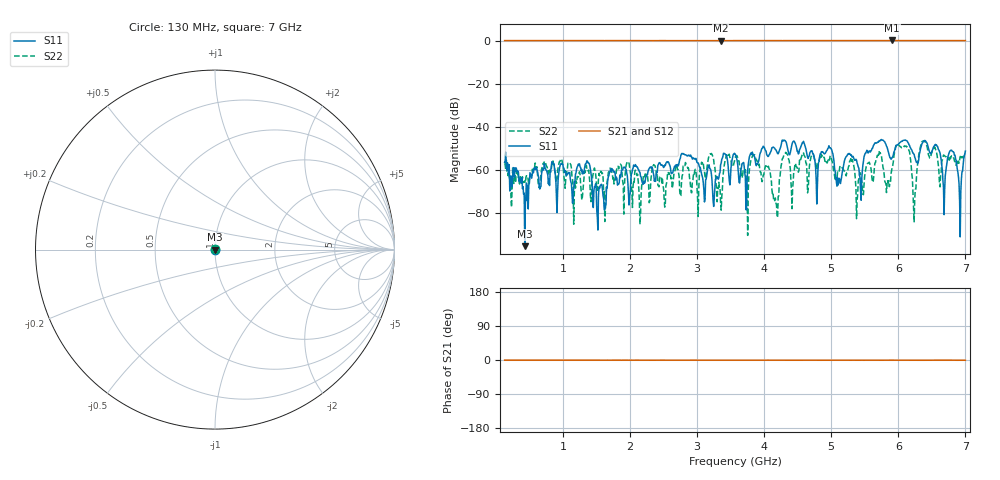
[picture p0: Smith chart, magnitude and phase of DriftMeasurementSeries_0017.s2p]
# Hz S RI R 50.000000
! Metas.Vna.Tools, 2.8.8664.20301
! Metas.Vna.Data, 2.8.8664.20285
! Created: UTC 2024.02.11 10:08:11
! FREQ  re:S1,1  im:S1,1  re:S2,1  im:S2,1  re:S1,2  im:S1,2  re:S2,2  im:S2,2
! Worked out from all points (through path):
!   801 points, 130 MHz to 7 GHz, reference 50 ohm
!   highest |S21| = 0.04 dB at 5.909 GHz (marker M1); lowest = -0.1 dB at 3.35 GHz (marker M2)
!   lowest |S11| = -95.5 dB at 430.6 MHz (marker M3), VSWR 1.00, Z = 50 - j0.00105 ohm
!   |S11| at or under -10 dB: start of sweep to end of sweep
!   |S22| runs from -90.5 to -46.6 dB; largest |S21 - S12| = 0.0089
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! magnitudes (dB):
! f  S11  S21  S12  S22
! 130 MHz  -56.6  0.0  0.0  -57.0
! 430.6 MHz  -95.5  0.0  0.0  -65.2
! 1.281 GHz  -59.9  0.0  0.0  -74.1
! 1.624 GHz  -78.6  -0.1  0.0  -84.0
! 2.423 GHz  -57.4  0.0  0.0  -67.5
! 3.204 GHz  -60.2  0.0  0.0  -52.8
! 3.35 GHz  -57.7  -0.1  0.0  -75.2
! 3.565 GHz  -52.6  0.0  0.0  -54.8
! 4.175 GHz  -50.8  0.0  0.0  -75.5
! 4.304 GHz  -46.4  0.0  0.0  -52.9
! 4.716 GHz  -51.3  0.0  0.0  -53.0
! 5.111 GHz  -65.2  0.0  0.0  -60.3
! 5.858 GHz  -52.5  0.0  0.0  -65.1
! 5.909 GHz  -54.3  0.0  0.0  -58.4
! 6.124 GHz  -46.5  0.0  0.0  -49.4
! 6.236 GHz  -53.0  0.0  0.0  -84.2
! 6.356 GHz  -47.6  0.0  0.0  -47.0
! 6.562 GHz  -48.7  0.0  0.0  -51.3
! 6.682 GHz  -80.9  0.0  0.0  -53.3
! 6.794 GHz  -50.9  0.0  0.0  -53.6
! 6.923 GHz  -91.2  0.0  0.0  -53.8
! 7 GHz  -51.4  0.0  0.0  -54.2
